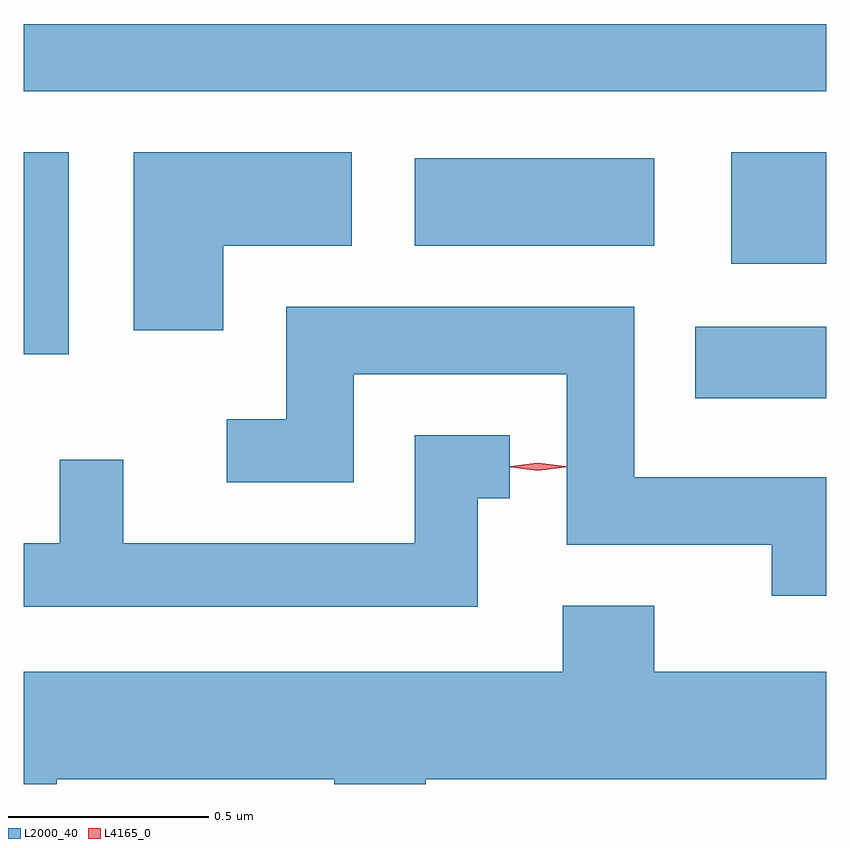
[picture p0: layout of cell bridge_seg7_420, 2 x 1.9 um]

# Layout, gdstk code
import gdstk
lib = gdstk.Library(unit=1e-6, precision=1e-09)
def R(c, l, rs):  # rectangles x0, y0, x1, y1
    for r in rs: c.add(gdstk.rectangle(r[:2], r[2:], *l))
def P(c, l, *ps):  # polygons
    for p in ps: c.add(gdstk.Polygon(p, *l))
L2000_40 = (2000, 40)
L4165_0 = (4165, 0)

bridge_seg7_420 = lib.new_cell('bridge_seg7_420')
R(bridge_seg7_420, L2000_40, [(1092.541,1715.266,1092.867,1715.444), (1090.867,1715.376,1090.979,1715.879), (1092.631,1715.601,1092.867,1715.879), (1091.841,1715.646,1092.439,1715.864), (1090.867,1716.031,1092.867,1716.199)])
P(bridge_seg7_420, L2000_40, [(1091.364,1715.646),(1091.684,1715.646),(1091.684,1715.879),(1091.141,1715.879),(1091.141,1715.436),(1091.364,1715.436)],
  [(1092.867,1715.069),(1092.389,1715.069),(1092.389,1715.494),(1091.521,1715.494),(1091.521,1715.214),(1091.373,1715.214),(1091.373,1715.056),(1091.689,1715.056),(1091.689,1715.326),(1092.221,1715.326),(1092.221,1714.901),(1092.731,1714.901),(1092.731,1714.773),(1092.867,1714.773)],
  [(1091.999,1715.016),(1092.078,1715.016),(1092.078,1715.174),(1091.841,1715.174),(1091.841,1714.904),(1091.114,1714.904),(1091.114,1715.113),(1090.956,1715.113),(1090.956,1714.904),(1090.867,1714.904),(1090.867,1714.746),(1091.999,1714.746)],
  [(1092.867,1714.584),(1092.439,1714.584),(1092.439,1714.749),(1092.211,1714.749),(1092.211,1714.584),(1090.867,1714.584),(1090.867,1714.304),(1090.949,1714.304),(1090.949,1714.316),(1091.641,1714.316),(1091.641,1714.304),(1091.869,1714.304),(1091.869,1714.316),(1092.867,1714.316)])
P(bridge_seg7_420, L4165_0, [(1092.148,1715.085),(1092.079,1715.094),(1092.079,1715.095),(1092.079,1715.096),(1092.148,1715.105),(1092.218,1715.096),(1092.218,1715.095),(1092.218,1715.094)])

lib.write_gds('bridge_seg7_420.gds')
